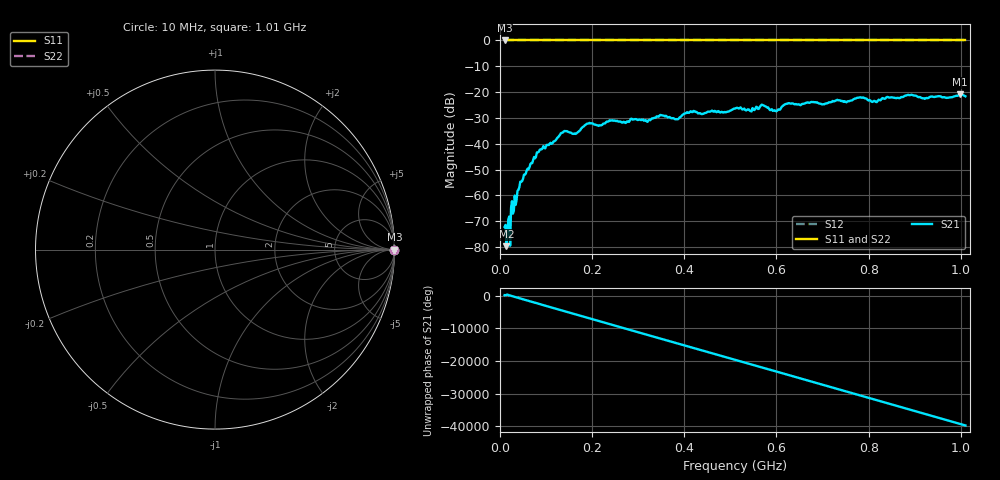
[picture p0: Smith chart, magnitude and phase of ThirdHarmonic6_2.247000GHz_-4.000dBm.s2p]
! 8/17/2025 2:40:19 AM
! C:\ANRITSUVNA\TEMP\TEMP.S2P
! CHANNEL.1
! TR.MEASUREMENT
! RAW.DATA
! RF.CORRECTION.OFF
! AVERAGING.OFF
! IF.BANDWIDTH: 5KHZ
! SWEEPTYPE:  FREQ.SWEEP(Linear)
! Reference Plane Port Info
! PORT:  PORT1  PORT2
! DISTANCE:  0  m  0  m
! TIME:  0  s  0  s
! PHASE.OFFSET:  0  deg.  0  deg.
! LOSS:  0  dB  0  dB
! REF.LOSS:  0  dB  0  dB
! REF.FREQ:  0  Hz  0  Hz
! Power Info
! POWER:  -20  dBm  -20  dBm
! EFF.POWER:  -20  dBm  -20  dBm
! SOURCE.ATTEN:  0  dB  0  dB
! TEST.ATTEN:  0  dB  0  dB
# GHZ S RI R 50.0
! FREQ.GHZ  S11RE  S11IM  S21RE  S21IM  S12RE  S12IM  S22RE  S22IM
!; PortSelection: Port_12
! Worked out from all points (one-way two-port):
!   501 points, 10 MHz to 1.01 GHz, reference 50 ohm
!   highest |S21| = -20.86 dB at 998 MHz (marker M1); lowest = -79.6 dB at 14 MHz (marker M2)
!   lowest |S11| = 0.0 dB at 10 MHz (marker M3)
!   |S11| at or under -10 dB: nowhere
!   |S22| runs from 0.0 to 0.0 dB; largest |S21 - S12| = 1.1
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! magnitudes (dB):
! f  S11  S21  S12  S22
! 10 MHz  0.0  -72.2  0.0  0.0
! 14 MHz  0.0  -79.6  0.0  0.0
! 18 MHz  0.0  -69.3  0.0  0.0
! 22 MHz  0.0  -79.4  0.0  0.0
! 26 MHz  0.0  -62.2  0.0  0.0
! 28 MHz  0.0  -67.0  0.0  0.0
! 32 MHz  0.0  -60.0  0.0  0.0
! 42 MHz  0.0  -56.8  0.0  0.0
! 84 MHz  0.0  -43.1  0.0  0.0
! 136 MHz  0.0  -35.7  0.0  0.0
! 178 MHz  0.0  -33.8  0.0  0.0
! 344 MHz  0.0  -29.5  0.0  0.0
! 384 MHz  0.0  -30.5  0.0  0.0
! 416 MHz  0.0  -27.7  0.0  0.0
! 510 MHz  0.0  -26.4  0.0  0.0
! 570 MHz  0.0  -25.0  0.0  0.0
! 598 MHz  0.0  -27.3  0.0  0.0
! 624 MHz  0.0  -24.5  0.0  0.0
! 678 MHz  0.0  -23.8  0.0  0.0
! 844 MHz  0.0  -22.1  0.0  0.0
! 998 MHz  0.0  -20.9  0.0  0.0
! 1.01 GHz  0.0  -21.6  0.0  0.0
